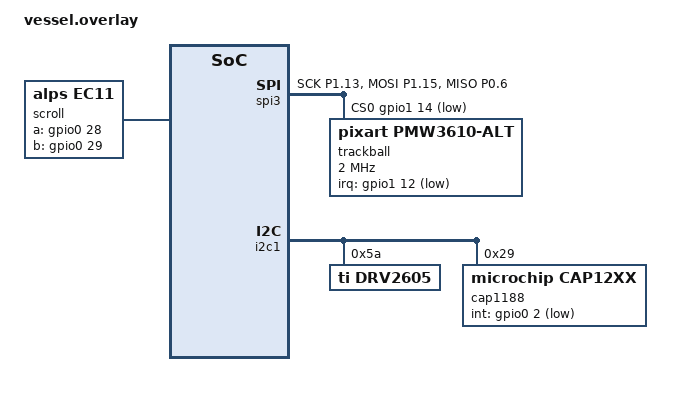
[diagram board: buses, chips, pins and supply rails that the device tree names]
/*
 * Vessel trackball — device tree for XIAO nRF52840 (Sense Plus)
 *
 * XIAO D-pin  ->  nRF port/pin  (used below)
 *   D0=P0.02  D1=P0.03  D2=P0.28  D3=P0.29  D4=P0.04  D5=P0.05
 *   D6=P1.11  D7=P1.12  D8=P1.13  D9=P1.14  D10=P1.15
 * The 9 extra Sense-Plus castellated pads are NOT in this map — look up their
 * P0.xx/P1.xx numbers on the Seeed pinout and add them where marked TODO.
 */

#include <dt-bindings/zmk/matrix_transform.h>
#include <dt-bindings/zmk/kscan_mock.h>
/* PMW3610 node below uses INPUT_EV_REL / INPUT_REL_X/Y — the seed referenced
 * these without including the header that defines them, so a fresh build never
 * compiled. (Per the badjeff driver README.) */
#include <zephyr/dt-bindings/input/input-event-codes.h>

/ {
    chosen {
        zmk,kscan = &kscan0;
    };

    /* v1 work item 1: D0/D1 are NOT buttons. In the cap-touch revision they are
     * the CAP1188 ALERT (D0) and RESET (D1) — see FIRMWARE_SPEC.md §2. The old
     * `zmk,kscan-gpio-direct` on D0/D1 is deleted.
     *
     * This device has no digital-GPIO keys at all now (the 6 touch zones arrive
     * in PR-2 as a CAP1188 *input* device, not a kscan). ZMK still requires a
     * chosen `zmk,kscan`, so stand in a mock that never fires: no `events` and
     * no `exit-after`, so it generates nothing on real hardware. PR-2 removes it
     * once the touch input pipeline exists. Mirrors ZMK's own native_posix mock
     * pattern (rows/columns, no events). */
    kscan0: kscan_mock {
        compatible = "zmk,kscan-mock";
        rows = <1>;
        columns = <1>;
        /* The mock driver requires an `events` property to exist (it sizes an
         * array by its length). One press+release on position (0,0) — which is
         * bound to &none — is a boot-time no-op, then the driver idles (no
         * `exit-after`, which would reboot real hardware). PR-2 removes all of
         * this once the CAP1188 input pipeline exists. */
        events = <ZMK_MOCK_PRESS(0,0,10) ZMK_MOCK_RELEASE(0,0,10)>;
    };

    /* Scroll ring: the 2 hall latches read as a quadrature encoder */
    scroll: encoder_scroll {
        compatible = "alps,ec11";
        a-gpios = <&gpio0 28 (GPIO_ACTIVE_HIGH | GPIO_PULL_UP)>;  /* D2 hall A */
        b-gpios = <&gpio0 29 (GPIO_ACTIVE_HIGH | GPIO_PULL_UP)>;  /* D3 hall B */
        steps = <24>;
        status = "okay";
    };
    sensors {
        compatible = "zmk,keymap-sensors";
        sensors = <&scroll>;
    };

    /* Register trackball motion with the pointing subsystem */
    trackball_listener {
        compatible = "zmk,input-listener";
        device = <&trackball>;
    };

    /* Work item 4: slider chord (repo-local module modules/orbit). Sits ahead
     * of cap_zone_behaviors in cap_listener's chain (vessel.keymap): a lone
     * CS7 or CS8 tap passes through (delayed <= timeout-ms); both pads within
     * the window are rewritten to one KEY_MUTE press/release pair. */
    slider_chord: slider_chord {
        compatible = "orbit,input-processor-chord";
        #input-processor-cells = <0>;
        codes = <INPUT_BTN_6 INPUT_BTN_7>;      /* CS7, CS8 */
        chord-code = <INPUT_KEY_MUTE>;
        /* Chord window = worst-case single-tap latency. Tuning point: raise
         * if simultaneous two-finger presses register as volume steps, lower
         * if slider taps feel laggy. See HARDWARE_VALIDATION.md §5. */
        timeout-ms = <75>;
    };

    /* Work item 5: per-zone haptic identity (spec §3): sharp click L/R,
     * softer click M, soft tick back/fwd, double-tick PTT, micro-tick
     * slider. Effect IDs = TI DRV2605L ROM library; all tuning points, see
     * HARDWARE_VALIDATION.md §6. Fires on raw touch (before the chord
     * window), keeping touch->haptic < 10 ms; dedup-ms suppresses the
     * second buzz the chord processor's re-injection would cause. */
    haptic_feedback {
        compatible = "orbit,haptic-feedback";
        haptics = <&drv2605>;
        input-dev = <&cap1188>;
        codes = <INPUT_BTN_0 INPUT_BTN_1 INPUT_BTN_2 INPUT_BTN_3
                 INPUT_BTN_4 INPUT_BTN_5 INPUT_BTN_6 INPUT_BTN_7>;
        /*        CS1 CS2 CS3 CS4 CS5 CS6 CS7 CS8 */
        effects = <4   4   5   26  26  10  24  24>;
        dedup-ms = <90>;          /* keep just above slider_chord timeout-ms */
        boot-cal-delay-ms = <800>;
        /* lra-drive-time = <24>;    set once LRA resonant freq is known */
    };
};

/* --- PMW3610 on SPI (3-wire) — needs the badjeff module in west.yml --- */
&pinctrl {
    spi_tb_default: spi_tb_default {
        group1 {
            psels = <NRF_PSEL(SPIM_SCK,  1, 13)>,   /* D8  SCLK */
                    <NRF_PSEL(SPIM_MOSI, 1, 15)>,   /* D10 SDIO (data) */
                    /* 3-wire sensor: no separate MISO wire. Park MISO on an
                     * unused pin so Zephyr is happy; the driver reads on MOSI. */
                    <NRF_PSEL(SPIM_MISO, 0,  6)>;
        };
    };
    spi_tb_sleep: spi_tb_sleep {
        group1 {
            psels = <NRF_PSEL(SPIM_SCK,  1, 13)>,
                    <NRF_PSEL(SPIM_MOSI, 1, 15)>,
                    <NRF_PSEL(SPIM_MISO, 0,  6)>;
            low-power-enable;
        };
    };
};

/* PMW3610 lives on SPIM3, NOT SPIM1. On the nRF52840, spi1 (SPIM1) and i2c1
 * (TWIM1) are the SAME peripheral instance (both at 0x40004000) and are mutually
 * exclusive. The CAP1188 touch bus must be i2c1 (the XIAO D4/D5 controller), so
 * the trackball SPI moves to spi3 (SPIM3 @0x4002f000, instance 3, no TWI sibling).
 * Pins are unchanged — pinctrl (spi_tb_default) routes the same D8/D9/D10. */
&spi3 {
    compatible = "nordic,nrf-spim";
    status = "okay";
    pinctrl-0 = <&spi_tb_default>;
    pinctrl-1 = <&spi_tb_sleep>;
    pinctrl-names = "default", "sleep";
    cs-gpios = <&gpio1 14 GPIO_ACTIVE_LOW>;          /* D9 nCS */

    trackball: trackball@0 {
        status = "okay";
        compatible = "pixart,pmw3610-alt";
        reg = <0>;
        spi-max-frequency = <2000000>;
        irq-gpios = <&gpio1 12 (GPIO_ACTIVE_LOW | GPIO_PULL_UP)>;  /* D7 MOT */
        cpi = <600>;
        evt-type = <INPUT_EV_REL>;
        x-input-code = <INPUT_REL_X>;
        y-input-code = <INPUT_REL_Y>;
        /* Uncomment/adjust after the first test to fix direction: */
        /* swap-xy; invert-x; invert-y; */
    };
};

/* --- CAP1188 8-channel capacitive touch (work item 2) ---
 * Shared I2C with the DRV2605L haptics (added in item 5). On the xiao_ble board
 * the XIAO D4/D5 pins are &i2c1 (NOT i2c0 — that's the internal sensor bus).
 * The spec's "I2C0 @0x29" is a net label; the Zephyr node here is i2c1.
 * The driver emits an INPUT_EV_KEY event per channel (codes below); the
 * input-listener + input-processor-behaviors in vessel.keymap turn those into
 * ZMK behaviors — no custom module needed (spec §4.2 primary path).
 */
&i2c1 {
    status = "okay";

    /* DRV2605L haptic driver + LRA (work item 5). Stock Zephyr ti,drv2605
     * haptics driver; the orbit,haptic-feedback node below adds the per-zone
     * effect map and the boot auto-cal/persist logic the driver lacks.
     * EN is hardwired high and IN/TRIG unused (I2C-only, spec §2). */
    drv2605: drv2605@5a {
        compatible = "ti,drv2605";
        reg = <0x5a>;
        actuator-mode = "LRA";
        /* TUNING POINT: set from the actual LRA datasheet before trusting
         * haptic strength. Defaults here suit a generic 10x4 mm LRA
         * (~1.8 Vrms rated, ~2.5 V overdrive clamp); the binding's own
         * defaults (3.2 V) could overdrive a small motor. */
        vib-rated-mv = <1800>;
        vib-overdrive-mv = <2500>;
    };

    cap1188: cap1188@29 {
        compatible = "microchip,cap12xx";
        reg = <0x29>;
        /* D0 = P0.02 = CAP1188 ALERT (open-drain, active low). Internal pull-up
         * enabled; the harness may also pull it up. D1/RESET is tied high in
         * hardware (spec §2), so it is not driven here. */
        int-gpios = <&gpio0 2 (GPIO_ACTIVE_LOW | GPIO_PULL_UP)>;
        /* One input code per physical channel CS1..CS8 -> touch channel 0..7.
         * The keymap maps these to behaviors. */
        input-codes = <INPUT_BTN_0 INPUT_BTN_1 INPUT_BTN_2 INPUT_BTN_3
                       INPUT_BTN_4 INPUT_BTN_5 INPUT_BTN_6 INPUT_BTN_7>;
        /* repeat;  // auto-repeat on prolonged touch — left off for click zones */
    };
};
